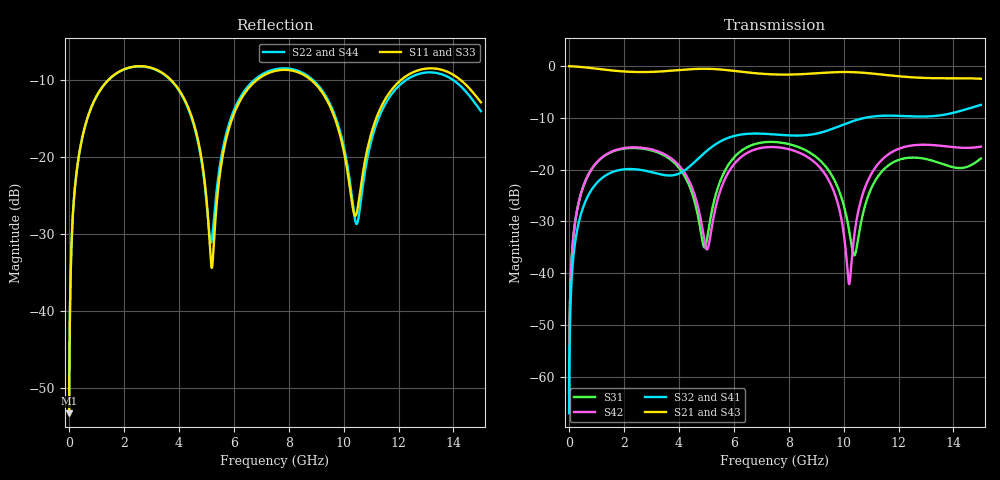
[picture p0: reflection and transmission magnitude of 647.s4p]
! Created with skrf 1.8.0 (http://scikit-rf.org).
# GHz S RI R 50.0
!freq ReS11 ImS11 ReS12 ImS12 ReS13 ImS13
! ReS14 ImS14
! ReS21 ImS21 ReS22 ImS22 ReS23 ImS23
! ReS24 ImS24
! ReS31 ImS31 ReS32 ImS32 ReS33 ImS33
! ReS34 ImS34
! ReS41 ImS41 ReS42 ImS42 ReS43 ImS43
! ReS44 ImS44
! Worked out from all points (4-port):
!   2499 points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, 5 MHz to 15 GHz, reference 50 ohm
!   strongest paths, dB at 5 MHz, 3.476 GHz, 7.19 GHz, 11.1 GHz, 15 GHz:
!     S21: 0.0, -1.0, -1.5, -1.5, -2.4
!     S43: 0.0, -1.0, -1.6, -1.5, -2.5
!     S32: -67.1, -21.1, -13.1, -9.7, -7.5
!     S41: -67.1, -21.1, -13.1, -9.7, -7.5
!     S42: -63.1, -17.0, -15.7, -20.1, -15.6
!     S31: -63.1, -17.3, -14.7, -22.6, -17.8
!   lowest |S11| = -53.3 dB at 5 MHz (marker M1), VSWR 1.00, Z = 50.2 + j0.131 ohm
!   |S11| at or under -10 dB: start of sweep to 1.418 GHz; 3.731 GHz to 6.823 GHz (3.092 GHz wide, 58.6 % of centre); 8.837 GHz to 12.07 GHz (3.235 GHz wide, 30.9 % of centre) (the widest 3 of 4)
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0.005  0.00173 0.00131  0.9982 -0.00336  8.74e-05 0.000697  -8.48e-05 -0.000435
       0.9982 -0.00336  0.00173 0.00131  -8.48e-05 -0.000435  8.74e-05 0.000697
       8.74e-05 0.000697  -8.48e-05 -0.000435  0.00173 0.00131  0.9982 -0.00336
       -8.48e-05 -0.000435  8.74e-05 0.000697  0.9982 -0.00336  0.00173 0.00131
0.3126303  0.0263 0.0858  0.9641 -0.2086  0.0122 0.0412  -0.0102 -0.0253
           0.9641 -0.2086  0.0262 0.0858  -0.0102 -0.0253  0.0125 0.0411
           0.0122 0.0412  -0.0102 -0.0253  0.0263 0.0858  0.9641 -0.2086
           -0.0102 -0.0253  0.0125 0.0411  0.9641 -0.2086  0.0262 0.0858
1.519383  0.2799 0.1732  0.5284 -0.7409  0.1326 0.0629  -0.0932 -0.00248
          0.5284 -0.7409  0.2786 0.1741  -0.0932 -0.00241  0.1362 0.0578
          0.1326 0.0629  -0.0932 -0.00241  0.2798 0.1732  0.5284 -0.7409
          -0.0932 -0.00248  0.1362 0.0578  0.5284 -0.7409  0.2786 0.174
5.202168  0.0191 0.000125  -0.9368 -0.0614  0.0263 0.0299  -0.00642 0.1657
          -0.9368 -0.0614  0.0282 0.00733  -0.00507 0.1658  -0.0108 0.0259
          0.0263 0.0299  -0.00507 0.1658  0.0194 0.00244  -0.9369 -0.0609
          -0.00642 0.1657  -0.0108 0.0259  -0.9369 -0.0609  0.0276 0.00965
7.997082  0.3687 -0.0195  -0.0269 0.8276  0.1448 -0.1013  0.2056 -0.0576
          -0.0269 0.8276  0.3764 -0.0299  0.2056 -0.0604  0.1412 -0.0704
          0.1448 -0.1013  0.2056 -0.0604  0.3714 -0.0188  -0.0281 0.8263
          0.2056 -0.0576  0.1412 -0.0704  -0.0281 0.8263  0.3799 -0.0292
10.20425  0.0499 -0.0466  0.8371 0.2581  -0.0216 -0.0137  0.0793 -0.2746
          0.8371 0.2581  0.0468 -0.0583  0.0748 -0.276  0.00729 -0.00287
          -0.0216 -0.0137  0.0748 -0.276  0.0514 -0.0502  0.8357 0.2618
          0.0793 -0.2746  0.00729 -0.00287  0.8357 0.2618  0.0485 -0.0619
15  0.2036 -0.1025  -0.6109 -0.4424  -0.1092 0.0671  -0.2736 0.323
    -0.6109 -0.4424  0.1891 -0.0642  -0.2656 0.3281  -0.1654 0.0209
    -0.1092 0.0671  -0.2656 0.3281  0.2104 -0.1067  -0.6048 -0.449
    -0.2736 0.323  -0.1654 0.0209  -0.6048 -0.449  0.1914 -0.0682
